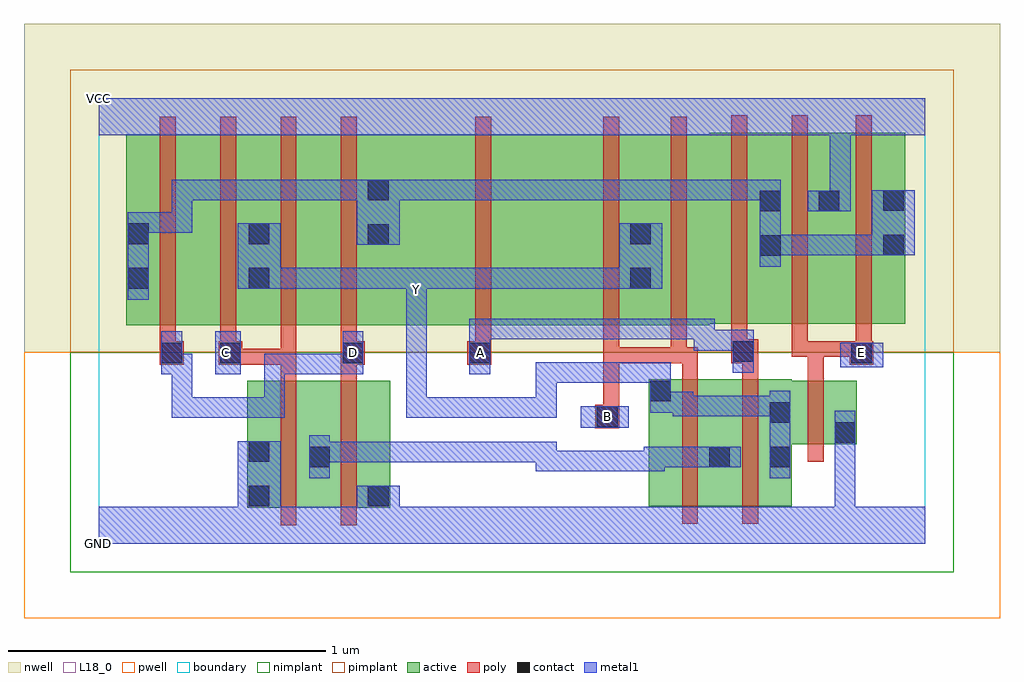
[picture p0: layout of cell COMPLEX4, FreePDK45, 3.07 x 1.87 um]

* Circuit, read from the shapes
.subckt COMPLEX4 A B C D E GND VCC Y
M1 n1 C GND VSUBS nfet w=0.4u l=0.05u
M2 GND D n1 VSUBS nfet w=0.4u l=0.05u
M3 n1 B Y VSUBS nfet w=0.4u l=0.05u
M4 Y A n1 VSUBS nfet w=0.4u l=0.05u
M5 GND E Y VSUBS nfet w=0.2u l=0.05u
M6 n2 D n3 n4 pfet w=0.6u l=0.05u
M7 Y C n2 n4 pfet w=0.6u l=0.05u
M8 n5 C Y n4 pfet w=0.6u l=0.05u
M9 n3 D n5 n4 pfet w=0.6u l=0.05u
M10 n6 A n3 n4 pfet w=0.6u l=0.05u
M11 Y B n6 n4 pfet w=0.6u l=0.05u
M12 n7 B Y n4 pfet w=0.6u l=0.05u
M13 n3 A n7 n4 pfet w=0.6u l=0.05u
M14 VCC E n3 n4 pfet w=0.6u l=0.05u m=2
.ends

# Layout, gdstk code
import gdstk
lib = gdstk.Library(unit=1e-6, precision=1e-09)
def R(c, l, rs):  # rectangles x0, y0, x1, y1
    for r in rs: c.add(gdstk.rectangle(r[:2], r[2:], *l))
def A(c, l, x, y, w, h, nx, ny, dx, dy):  # array of equal rectangles
    R(c, l, [(x+i*dx, y+j*dy, x+i*dx+w, y+j*dy+h) for i in range(nx) for j in range(ny)])
active = (1, 0)
pwell = (2, 0)
nwell = (3, 0)
nimplant = (4, 0)
pimplant = (5, 0)
poly = (9, 0)
contact = (10, 0)
metal1 = (11, 0)
L18_0 = (18, 0)
boundary = (235, 0)

complex4 = lib.new_cell('COMPLEX4')
R(complex4, active, [(0.467,0.112,0.732,0.512), (0.467,0.112,0.542,0.512), (0.657,0.112,0.917,0.512), (0.842,0.112,0.917,0.447), (1.73,0.117,1.99,0.517), (1.915,0.117,2.18,0.517), (0.657,0.147,0.732,0.492), (1.73,0.147,1.805,0.517), (1.915,0.147,1.99,0.492), (2.105,0.2,2.18,0.512), (2.105,0.312,2.385,0.512), (2.31,0.312,2.385,0.512), (0.087,0.687,0.312,1.287), (0.087,0.687,0.192,1.2), (0.312,0.687,0.542,1.287), (0.467,0.687,0.692,1.287), (0.692,0.687,0.917,1.287), (0.842,0.687,1.517,1.287), (1.517,0.687,1.742,1.287), (1.667,0.687,1.92,1.287), (1.92,0.692,2.15,1.292), (2.075,0.692,2.335,1.292), (2.26,0.692,2.537,1.292), (2.462,0.692,2.537,1.2), (0.467,0.707,0.542,1.07), (0.842,0.707,0.917,1.2), (1.667,0.707,1.742,1.07), (2.075,0.707,2.15,1.2), (2.26,0.707,2.335,1.257)])
R(complex4, pwell, [(-0.235,-0.235,2.835,0.602)])
R(complex4, nwell, [(-0.235,0.602,2.835,1.635)])
R(complex4, nimplant, [(-0.09,-0.09,2.69,0.602)])
R(complex4, pimplant, [(-0.09,0.602,2.69,1.49)])
A(complex4, poly, 0.192, 0.632, 0.05, 0.71, 4, 1, 0.19, 0)
R(complex4, poly, [(0.572,0.057,0.622,0.567), (0.762,0.057,0.812,0.567), (1.835,0.062,1.885,0.572), (2.025,0.062,2.075,0.572), (2.23,0.257,2.28,0.567), (1.562,0.362,1.637,0.437), (1.587,0.387,1.637,0.617), (0.572,0.517,0.622,0.612), (0.762,0.517,0.812,0.612), (2.23,0.517,2.28,0.637), (1.835,0.522,1.885,0.617), (2.025,0.522,2.075,0.617), (0.192,0.562,0.267,0.637), (0.377,0.562,0.452,0.637), (0.402,0.562,0.452,0.612), (0.402,0.562,0.452,0.612), (0.402,0.562,0.622,0.612), (0.572,0.562,0.622,0.612), (0.572,0.562,0.622,0.682), (0.762,0.562,0.837,0.637), (1.16,0.562,1.235,0.637), (2.362,0.562,2.437,0.637), (1.587,0.567,1.637,0.617), (1.587,0.567,1.637,0.617), (1.587,0.567,1.637,0.617), (1.587,0.567,1.637,0.617), (1.587,0.567,1.637,0.617), (1.587,0.567,1.637,0.682), (1.587,0.567,1.85,0.617), (1.8,0.567,1.85,0.682), (1.8,0.567,1.885,0.617), (1.99,0.567,2.075,0.642), (0.192,0.587,0.242,0.682), (0.382,0.587,0.432,0.682), (0.762,0.587,0.812,0.682), (1.185,0.587,1.235,0.682), (2.18,0.587,2.23,0.687), (2.18,0.587,2.28,0.637), (2.23,0.587,2.412,0.637), (2.362,0.587,2.412,0.637), (2.362,0.587,2.412,0.637), (2.382,0.587,2.432,0.687), (1.99,0.592,2.04,0.687), (1.185,0.632,1.235,1.342), (1.587,0.632,1.637,1.342), (1.8,0.632,1.85,1.342), (1.99,0.637,2.04,1.347), (2.18,0.637,2.23,1.347), (2.382,0.637,2.432,1.347)])
R(complex4, contact, [(0.472,0.117,0.537,0.182), (0.847,0.117,0.912,0.182), (0.662,0.24,0.727,0.305), (1.92,0.24,1.985,0.305), (2.11,0.24,2.175,0.305), (0.472,0.257,0.537,0.322), (2.315,0.317,2.38,0.382), (1.567,0.367,1.632,0.432), (2.11,0.38,2.175,0.445), (1.735,0.447,1.8,0.512), (0.197,0.567,0.262,0.632), (0.382,0.567,0.447,0.632), (0.767,0.567,0.832,0.632), (1.165,0.567,1.23,0.632), (2.367,0.567,2.432,0.632), (1.995,0.572,2.06,0.637), (0.092,0.802,0.157,0.867), (0.472,0.802,0.537,0.867), (1.672,0.802,1.737,0.867), (2.08,0.905,2.145,0.97), (2.467,0.907,2.532,0.972), (0.847,0.94,0.912,1.005), (0.092,0.942,0.157,1.007), (0.472,0.942,0.537,1.007), (1.672,0.942,1.737,1.007), (2.08,1.045,2.145,1.11), (2.265,1.045,2.33,1.11), (2.467,1.047,2.532,1.112), (0.847,1.08,0.912,1.145)])
R(complex4, metal1, [(0,0,2.6,0.115), (0.507,0.05,0.572,0.182), (0.882,0.05,0.947,0.182), (2.315,0.05,2.38,0.115), (2.315,0.05,2.38,0.115), (2.315,0.05,2.38,0.115), (2.315,0.05,2.38,0.115), (2.315,0.05,2.38,0.347), (0.437,0.117,0.572,0.322), (0.812,0.117,0.947,0.182), (0.662,0.205,0.727,0.34), (2.11,0.205,2.175,0.48), (1.375,0.227,1.44,0.292), (1.375,0.227,1.44,0.292), (1.375,0.227,1.78,0.292), (1.375,0.227,1.44,0.32), (1.715,0.227,1.78,0.292), (1.715,0.227,1.78,0.292), (1.715,0.227,1.78,0.305), (1.715,0.24,1.95,0.305), (1.885,0.24,2.02,0.305), (0.662,0.255,0.832,0.32), (0.767,0.255,0.832,0.32), (0.767,0.255,1.165,0.32), (1.1,0.255,1.165,0.32), (1.1,0.255,1.165,0.32), (1.1,0.255,1.165,0.32), (1.1,0.255,1.44,0.32), (2.315,0.282,2.38,0.417), (1.517,0.365,1.667,0.432), (0.23,0.395,0.295,0.46), (0.23,0.395,0.557,0.46), (0.23,0.395,0.295,0.597), (0.492,0.395,0.557,0.46), (0.492,0.395,0.557,0.46), (0.492,0.395,0.585,0.46), (0.52,0.395,0.585,0.597), (0.967,0.395,1.032,0.46), (0.967,0.395,1.302,0.46), (0.967,0.395,1.032,0.797), (1.237,0.395,1.302,0.46), (1.237,0.395,1.44,0.46), (1.375,0.395,1.44,0.57), (1.805,0.4,2.007,0.465), (1.805,0.4,1.87,0.477), (1.942,0.4,2.007,0.465), (1.942,0.4,2.007,0.465), (1.942,0.4,2.007,0.465), (1.942,0.4,2.175,0.465), (1.735,0.412,1.87,0.477), (1.735,0.412,1.8,0.57), (1.375,0.505,1.44,0.57), (1.375,0.505,1.44,0.57), (1.375,0.505,1.8,0.57), (0.197,0.532,0.262,0.667), (0.197,0.532,0.295,0.597), (0.23,0.532,0.295,0.597), (0.367,0.532,0.447,0.667), (0.52,0.532,0.585,0.597), (0.52,0.532,0.695,0.597), (0.63,0.532,0.695,0.597), (0.63,0.532,0.74,0.597), (0.675,0.532,0.74,0.597), (0.675,0.532,0.832,0.597), (0.767,0.532,0.832,0.667), (1.165,0.532,1.232,0.707), (1.995,0.537,2.06,0.672), (2.332,0.555,2.467,0.632), (1.872,0.607,2.06,0.672), (1.872,0.607,1.937,0.707), (1.167,0.642,1.565,0.707), (1.5,0.642,1.565,0.707), (1.5,0.642,1.565,0.707), (1.5,0.642,1.565,0.707), (1.5,0.642,1.702,0.707), (1.637,0.642,1.702,0.707), (1.637,0.642,1.702,0.707), (1.637,0.642,1.702,0.707), (1.637,0.642,1.937,0.707), (0.967,0.732,1.032,0.867), (0.092,0.767,0.157,1.042), (0.437,0.802,0.572,1.007), (0.507,0.802,0.695,0.867), (0.63,0.802,0.695,0.867), (0.63,0.802,0.74,0.867), (0.675,0.802,0.74,0.867), (0.675,0.802,1.027,0.867), (0.962,0.802,1.027,0.867), (0.962,0.802,1.027,0.867), (0.962,0.802,1.032,0.867), (0.967,0.802,1.032,0.867), (0.967,0.802,1.165,0.867), (1.1,0.802,1.165,0.867), (1.1,0.802,1.44,0.867), (1.375,0.802,1.44,0.867), (1.375,0.802,1.44,0.867), (1.375,0.802,1.44,0.867), (1.375,0.802,1.702,0.867), (1.637,0.802,1.772,1.007), (2.08,0.87,2.145,1.145), (2.08,0.907,2.145,0.972), (2.08,0.907,2.145,0.972), (2.08,0.907,2.282,0.972), (2.217,0.907,2.282,0.972), (2.217,0.907,2.497,0.972), (2.432,0.907,2.497,0.972), (2.432,0.907,2.497,0.972), (2.432,0.907,2.567,1.112), (0.812,0.94,0.947,1.145), (0.092,0.977,0.157,1.042), (0.092,0.977,0.157,1.042), (0.092,0.977,0.295,1.042), (0.23,0.977,0.295,1.042), (0.23,0.977,0.295,1.145), (2.23,1.045,2.365,1.11), (2.3,1.045,2.365,1.35), (0.23,1.08,0.295,1.145), (0.23,1.08,0.432,1.145), (0.367,1.08,0.432,1.145), (0.367,1.08,0.432,1.145), (0.367,1.08,0.432,1.145), (0.367,1.08,0.695,1.145), (0.63,1.08,0.695,1.145), (0.63,1.08,0.74,1.145), (0.675,1.08,0.74,1.145), (0.675,1.08,0.877,1.145), (0.812,1.08,0.877,1.145), (0.812,1.08,0.877,1.145), (0.882,1.08,1.302,1.145), (1.237,1.08,1.302,1.145), (1.237,1.08,1.302,1.145), (1.237,1.08,1.302,1.145), (1.237,1.08,1.44,1.145), (1.375,1.08,1.44,1.145), (1.375,1.08,1.702,1.145), (1.637,1.08,1.702,1.145), (1.637,1.08,1.702,1.145), (1.637,1.08,1.702,1.145), (1.637,1.08,2.007,1.145), (1.942,1.08,2.007,1.145), (1.942,1.08,2.007,1.145), (1.942,1.08,2.007,1.145), (1.942,1.08,2.007,1.145), (1.942,1.08,2.007,1.145), (1.942,1.08,2.145,1.145), (0,1.285,2.6,1.4)])
A(complex4, L18_0, 0.367, 0.567, 0.065, 0.065, 3, 1, 0.4, 0)
R(complex4, L18_0, [(0,0,2.6,0.115), (0.507,0.05,0.572,0.182), (0.882,0.05,0.947,0.182), (2.315,0.05,2.38,0.115), (2.315,0.05,2.38,0.115), (2.315,0.05,2.38,0.115), (2.315,0.05,2.38,0.115), (2.315,0.05,2.38,0.347), (0.437,0.117,0.572,0.322), (0.812,0.117,0.947,0.182), (2.11,0.205,2.175,0.48), (2.315,0.282,2.38,0.417), (1.517,0.365,1.667,0.432), (1.567,0.367,1.632,0.432), (0.23,0.395,0.295,0.46), (0.23,0.395,0.295,0.597), (0.23,0.395,0.557,0.46), (0.492,0.395,0.557,0.46), (0.492,0.395,0.557,0.46), (0.492,0.395,0.585,0.46), (0.52,0.395,0.585,0.597), (0.967,0.395,1.032,0.46), (0.967,0.395,1.032,0.797), (0.967,0.395,1.302,0.46), (1.237,0.395,1.302,0.46), (1.237,0.395,1.44,0.46), (1.375,0.395,1.44,0.57), (1.805,0.4,2.007,0.465), (1.805,0.4,1.87,0.477), (1.942,0.4,2.007,0.465), (1.942,0.4,2.007,0.465), (1.942,0.4,2.007,0.465), (1.942,0.4,2.175,0.465), (1.735,0.412,1.87,0.477), (1.735,0.412,1.8,0.57), (1.375,0.505,1.44,0.57), (1.375,0.505,1.44,0.57), (1.375,0.505,1.8,0.57), (0.197,0.532,0.262,0.667), (0.197,0.532,0.295,0.597), (0.23,0.532,0.295,0.597), (0.367,0.532,0.447,0.667), (0.52,0.532,0.585,0.597), (0.52,0.532,0.695,0.597), (0.63,0.532,0.695,0.597), (0.63,0.532,0.74,0.597), (0.675,0.532,0.74,0.597), (0.675,0.532,0.832,0.597), (0.767,0.532,0.832,0.667), (1.165,0.532,1.232,0.707), (1.995,0.537,2.06,0.672), (2.332,0.555,2.467,0.632), (2.367,0.567,2.432,0.632), (1.872,0.607,2.06,0.672), (1.872,0.607,1.937,0.707), (1.167,0.642,1.565,0.707), (1.5,0.642,1.565,0.707), (1.5,0.642,1.565,0.707), (1.5,0.642,1.565,0.707), (1.5,0.642,1.702,0.707), (1.637,0.642,1.702,0.707), (1.637,0.642,1.702,0.707), (1.637,0.642,1.702,0.707), (1.637,0.642,1.937,0.707), (0.967,0.732,1.032,0.867), (0.967,0.767,1.032,0.832), (0.437,0.802,0.572,1.007), (0.507,0.802,0.695,0.867), (0.63,0.802,0.695,0.867), (0.63,0.802,0.74,0.867), (0.675,0.802,0.74,0.867), (0.675,0.802,1.027,0.867), (0.962,0.802,1.027,0.867), (0.962,0.802,1.027,0.867), (0.962,0.802,1.032,0.867), (0.967,0.802,1.032,0.867), (0.967,0.802,1.165,0.867), (1.1,0.802,1.165,0.867), (1.1,0.802,1.44,0.867), (1.375,0.802,1.44,0.867), (1.375,0.802,1.44,0.867), (1.375,0.802,1.44,0.867), (1.375,0.802,1.702,0.867), (1.637,0.802,1.772,1.007), (2.23,1.045,2.365,1.11), (2.3,1.045,2.365,1.35), (0,1.285,2.6,1.4)])
R(complex4, boundary, [(0,0,2.6,1.4)])
complex4.add(gdstk.Label('A', (1.2,0.6), layer=11, texttype=0))
complex4.add(gdstk.Label('B', (1.6,0.4), layer=11, texttype=0))
complex4.add(gdstk.Label('C', (0.4,0.6), layer=11, texttype=0))
complex4.add(gdstk.Label('D', (0.8,0.6), layer=11, texttype=0))
complex4.add(gdstk.Label('E', (2.4,0.6), layer=11, texttype=0))
complex4.add(gdstk.Label('Y', (1,0.8), layer=11, texttype=0))
complex4.add(gdstk.Label('VCC', (0,1.4), layer=11, texttype=0))
complex4.add(gdstk.Label('GND', (0,0), layer=11, texttype=0))

lib.write_gds('COMPLEX4.gds')
